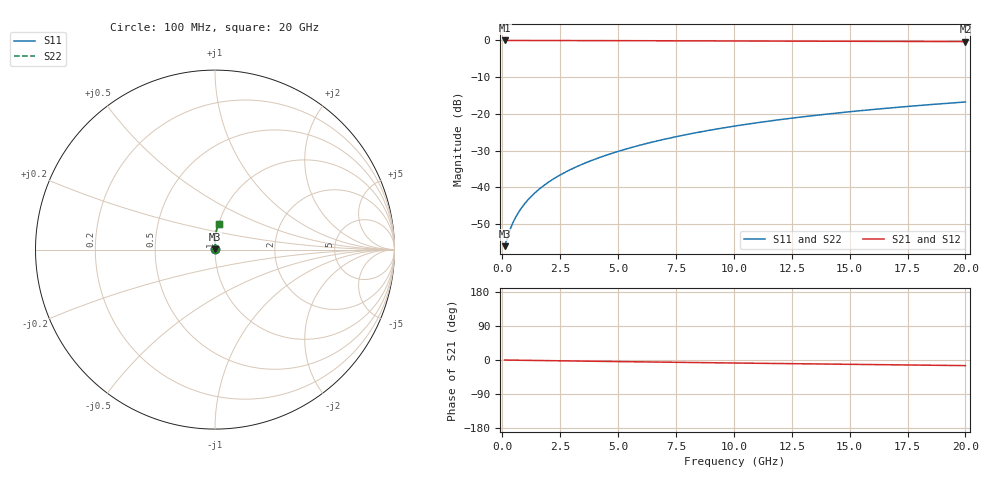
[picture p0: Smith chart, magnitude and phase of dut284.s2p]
! Touchstone file exported from HFSS 2024.1.0
!  File:  C:/UserFiles/LocalFiles/RDL_TSV_Batchsim/temp_RDL_top_284_1778690199.aedt
!  Generated:  12:38:50 AM May 14, 2026
!  Design:  RDL_top
!  Project:  temp_RDL_top_284_1778690199
!  Setup:  Setup1
!  Solution:  Sweep
! Variables:
!  dtsv = 10.80580581um
!  hbump = 3um
!  htsv = 54.44um
!  ldown = 100um
!  lrdl = 200.42um
!  p = 40
!  p1 = 43.28um
!  rhole = 1um
!  t = 450um
!  tdown = 3.915915916um
!  trdl = 2.6um
!  wdown = 15.38538539um
!  wrdl = 24.72um
# GHz S MA R 50.000000
! Terminal data exported
! Port[1] = Box2_T1
! Port[2] = Box2_T2
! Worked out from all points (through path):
!   200 points, 100 MHz to 20 GHz, reference 50 ohm
!   highest |S21| = -0.01 dB at 100 MHz (marker M1); lowest = -0.3 dB at 20 GHz (marker M2)
!   group delay of S21, straight-line fit = 2.03 ps
!   lowest |S11| = -56.0 dB at 100 MHz (marker M3), VSWR 1.00, Z = 50.1 + j0.0675 ohm
!   |S11| at or under -10 dB: start of sweep to end of sweep
!   |S22| runs from -56.0 to -16.8 dB; largest |S21 - S12| = 2.6e-15
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0.1  0.001587 25.1  0.9986 -0.1  0.9986 -0.1  0.001587 25.1
! Gamma 0 0 0 0
! Port Impedance 50 0 50 0
0.3  0.002485 51.5  0.9984 -0.3  0.9984 -0.3  0.002485 51.5
0.4  0.003002 57.7  0.9983 -0.4  0.9983 -0.4  0.003002 57.7
0.6  0.004047 65.5  0.9982 -0.5  0.9982 -0.5  0.004047 65.5
0.7  0.004573 68.3  0.9981 -0.6  0.9981 -0.6  0.004573 68.3
0.9  0.005638 72.5  0.9979 -0.8  0.9979 -0.8  0.005639 72.5
1.2  0.007273 76.8  0.9977 -1.0  0.9977 -1.0  0.007273 76.8
1.4  0.008385 78.9  0.9975 -1.2  0.9975 -1.2  0.008385 78.9
1.7  0.01008 81.4  0.9973 -1.5  0.9973 -1.5  0.01008 81.4
2.2  0.01299 84.3  0.9967 -1.9  0.9967 -1.9  0.01299 84.3
2.8  0.0166 86.6  0.996 -2.4  0.996 -2.4  0.0166 86.6
3.5  0.02096 88.5  0.9949 -3.0  0.9949 -3.0  0.02096 88.5
4.2  0.02551 89.7  0.9937 -3.5  0.9937 -3.5  0.02551 89.7
5  0.03091 90.6  0.9922 -4.2  0.9922 -4.2  0.03091 90.6
5.9  0.03722 91.1  0.9904 -4.9  0.9904 -4.9  0.03722 91.1
6.8  0.04375 91.2  0.9885 -5.6  0.9885 -5.6  0.04375 91.2
8.4  0.05574 90.8  0.9851 -6.8  0.9851 -6.8  0.05574 90.8
10.1  0.06883 89.8  0.9816 -8.0  0.9816 -8.0  0.06883 89.8
11.7  0.0813 88.6  0.9784 -9.1  0.9784 -9.1  0.0813 88.6
13.4  0.09459 87.2  0.9751 -10.3  0.9751 -10.3  0.09459 87.2
16.7  0.1202 84.4  0.969 -12.6  0.969 -12.6  0.1202 84.3
20  0.1454 81.5  0.9631 -14.8  0.9631 -14.8  0.1454 81.5
